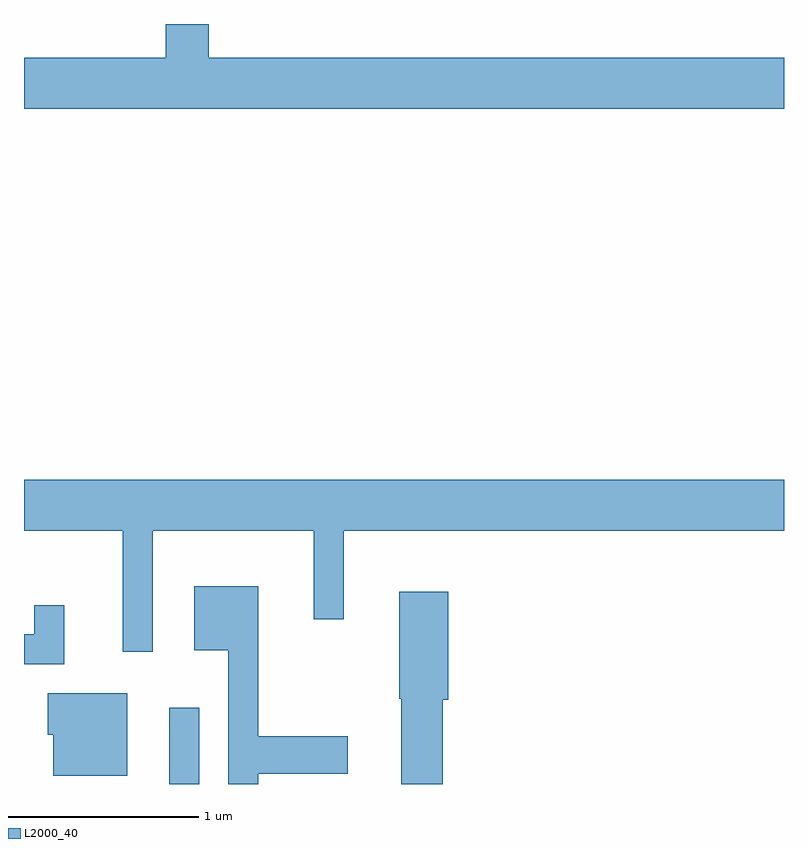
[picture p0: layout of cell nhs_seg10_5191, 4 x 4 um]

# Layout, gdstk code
import gdstk
lib = gdstk.Library(unit=1e-6, precision=1e-09)
def R(c, l, rs):  # rectangles x0, y0, x1, y1
    for r in rs: c.add(gdstk.rectangle(r[:2], r[2:], *l))
def P(c, l, *ps):  # polygons
    for p in ps: c.add(gdstk.Polygon(p, *l))
L2000_40 = (2000, 40)

nhs_seg10_5191 = lib.new_cell('nhs_seg10_5191')
R(nhs_seg10_5191, L2000_40, [(338.376,2172.522,338.534,2172.923)])
P(nhs_seg10_5191, L2000_40, [(341.611,2176.344),(338.584,2176.344),(338.584,2176.522),(338.356,2176.522),(338.356,2176.344),(337.611,2176.344),(337.611,2176.076),(341.611,2176.076)],
  [(338.289,2173.856),(339.136,2173.856),(339.136,2173.388),(339.294,2173.388),(339.294,2173.856),(341.611,2173.856),(341.611,2174.124),(337.611,2174.124),(337.611,2173.856),(338.131,2173.856),(338.131,2173.218),(338.289,2173.218)],
  [(338.844,2172.576),(339.314,2172.576),(339.314,2172.774),(338.844,2172.774),(338.844,2173.564),(338.506,2173.564),(338.506,2173.226),(338.686,2173.226),(338.686,2172.522),(338.844,2172.522)],
  [(339.814,2172.966),(339.844,2172.966),(339.844,2173.534),(339.586,2173.534),(339.586,2172.97),(339.596,2172.97),(339.596,2172.522),(339.814,2172.522)],
  [(337.824,2173.463),(337.666,2173.463),(337.666,2173.309),(337.611,2173.309),(337.611,2173.151),(337.824,2173.151)],
  [(338.154,2172.999),(337.736,2172.999),(337.736,2172.781),(337.766,2172.781),(337.766,2172.566),(338.154,2172.566)])

lib.write_gds('nhs_seg10_5191.gds')
